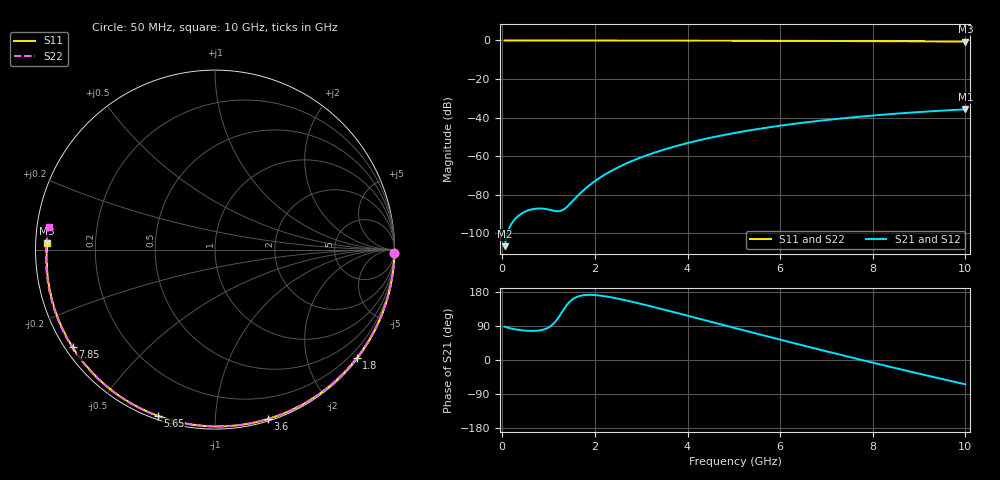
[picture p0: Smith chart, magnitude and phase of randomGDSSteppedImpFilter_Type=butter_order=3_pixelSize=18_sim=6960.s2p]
! freq	dB(S11)	phase(S11)	dB(S12)	phase(S12)
!  dB(S21)	phase(S21)	dB(S22)	phase(S22)
!S-par simulation data
#  GHz  S  DB  R 50
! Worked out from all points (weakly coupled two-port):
!   200 points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, 50 MHz to 10 GHz, reference 50 ohm
!   highest |S21| = -35.71 dB at 10 GHz (marker M1); lowest = -106.6 dB at 50 MHz (marker M2)
!   lowest |S11| = -0.6 dB at 10 GHz (marker M3), VSWR 29.74, Z = 1.68 + j0.924 ohm
!   |S11| at or under -10 dB: nowhere
!   |S22| runs from -0.6 to 0.0 dB; largest |S21 - S12| = 0
!   S11 on the Smith chart (normalised r, x): 50 MHz: open; 1.8 GHz: 0.03, -2.95; 3.6 GHz: 0.02, -1.36; 5.65 GHz: 0.02, -0.71; 7.85 GHz: 0.02, -0.31; 10 GHz: 0.03, +0.02
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0.05  -0.00 -1.1  -106.61 88.0  -106.61 88.0  -0.00 -1.1
0.4  -0.01 -8.5  -89.95 78.6  -89.95 78.6  -0.01 -8.8
0.8  -0.02 -16.9  -87.08 78.0  -87.08 78.0  -0.02 -17.5
1.2  -0.03 -25.2  -88.53 109.6  -88.53 109.6  -0.03 -26.1
1.65  -0.04 -34.4  -79.99 168.2  -79.99 168.2  -0.05 -35.6
1.75  -0.05 -36.5  -77.72 171.0  -77.72 171.0  -0.05 -37.7
1.8  -0.05 -37.5  -76.66 171.6  -76.66 171.6  -0.05 -38.8
2.1  -0.05 -43.5  -71.25 170.2  -71.25 170.2  -0.06 -45.0
2.45  -0.06 -50.5  -66.38 163.1  -66.38 163.1  -0.07 -52.2
2.9  -0.08 -59.3  -61.50 150.9  -61.50 150.9  -0.08 -61.2
3.4  -0.09 -68.8  -57.24 135.8  -57.24 135.8  -0.09 -71.1
3.6  -0.10 -72.6  -55.78 129.6  -55.78 129.6  -0.10 -74.9
4.3  -0.12 -85.4  -51.45 107.4  -51.45 107.4  -0.12 -88.1
5.05  -0.15 -98.7  -47.80 83.5  -47.80 83.5  -0.15 -101.8
5.65  -0.18 -109.1  -45.41 64.6  -45.41 64.6  -0.18 -112.3
6.15  -0.21 -117.5  -43.69 49.0  -43.69 49.0  -0.21 -121.0
6.7  -0.24 -126.6  -42.04 32.0  -42.04 32.0  -0.25 -130.4
7.3  -0.29 -136.5  -40.47 13.8  -40.47 13.8  -0.30 -140.5
7.85  -0.34 -145.6  -39.22 -2.6  -39.22 -2.6  -0.34 -149.9
8.35  -0.39 -153.8  -38.23 -17.3  -38.23 -17.3  -0.39 -158.4
9.2  -0.48 -168.1  -36.79 -41.8  -36.79 -41.8  -0.49 -173.2
10  -0.58 177.9  -35.71 -64.2  -35.71 -64.2  -0.59 172.1
